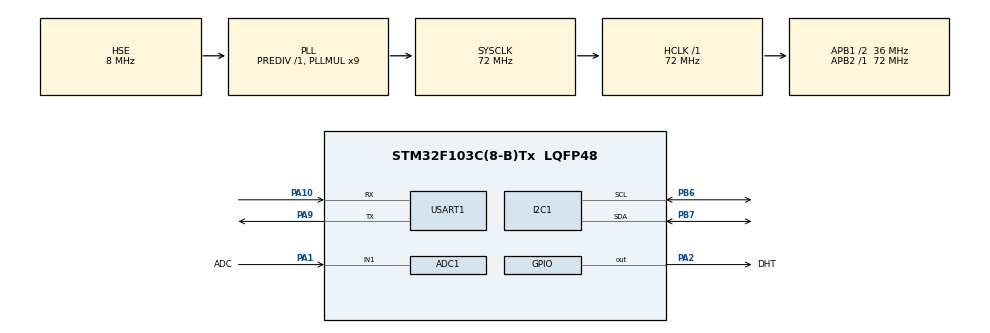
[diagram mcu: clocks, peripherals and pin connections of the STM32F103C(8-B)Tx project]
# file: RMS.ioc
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ADC1.Channel-0\#ChannelRegularConversion=ADC_CHANNEL_1
ADC1.NbrOfConversionFlag=1
ADC1.Rank-0\#ChannelRegularConversion=1
ADC1.SamplingTime-0\#ChannelRegularConversion=ADC_SAMPLETIME_1CYCLE_5
ADC1.master=1
FREERTOS.Tasks01=defaultTask,24,128,StartDefaultTask,Default,NULL,Dynamic,NULL,NULL
FREERTOS.configUSE_NEWLIB_REENTRANT=1
Mcu.Family=STM32F1
Mcu.Name=STM32F103C(8-B)Tx
Mcu.Package=LQFP48
NVIC.PriorityGroup=NVIC_PRIORITYGROUP_4
NVIC.TIM2_IRQn=true\:15\:0\:false\:false\:true\:false\:false\:true\:true
NVIC.TimeBase=TIM2_IRQn
NVIC.TimeBaseIP=TIM2
NVIC.USART1_IRQn=true\:5\:0\:false\:false\:true\:true\:true\:true\:true
PA1.GPIO_Label=ADC
PA1.Signal=ADCx_IN1
PA10.Mode=Asynchronous
PA10.Signal=USART1_RX
PA13.Mode=Serial_Wire
PA13.Signal=SYS_JTMS-SWDIO
PA14.Mode=Serial_Wire
PA14.Signal=SYS_JTCK-SWCLK
PA2.GPIO_Label=DHT
PA2.Signal=GPIO_Output
PA9.Mode=Asynchronous
PA9.Signal=USART1_TX
PB6.Mode=I2C
PB6.Signal=I2C1_SCL
PB7.Mode=I2C
PB7.Signal=I2C1_SDA
PD0-OSC_IN.Mode=HSE-External-Oscillator
PD0-OSC_IN.Signal=RCC_OSC_IN
PD1-OSC_OUT.Mode=HSE-External-Oscillator
PD1-OSC_OUT.Signal=RCC_OSC_OUT
ProjectManager.HeapSize=0x200
ProjectManager.StackSize=0x400
ProjectManager.TargetToolchain=STM32CubeIDE
RCC.ADCPresc=RCC_ADCPCLK2_DIV6
RCC.AHBFreq_Value=72000000
RCC.APB1CLKDivider=RCC_HCLK_DIV2
RCC.APB1Freq_Value=36000000
RCC.APB1TimFreq_Value=72000000
RCC.APB2Freq_Value=72000000
RCC.APB2TimFreq_Value=72000000
RCC.HCLKFreq_Value=72000000
RCC.PLLMUL=RCC_PLL_MUL9
RCC.PLLSourceVirtual=RCC_PLLSOURCE_HSE
RCC.SYSCLKFreq_VALUE=72000000
RCC.SYSCLKSource=RCC_SYSCLKSOURCE_PLLCLK
RCC.USBFreq_Value=72000000
SH.ADCx_IN1.0=ADC1_IN1,IN1
TIM1.Prescaler=71
USART1.VirtualMode=VM_ASYNC
VP_FREERTOS_VS_CMSIS_V2.Mode=CMSIS_V2
VP_SYS_VS_tim2.Mode=TIM2
VP_TIM1_VS_ClockSourceINT.Mode=Internal
board=custom

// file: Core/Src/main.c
/* USER CODE BEGIN Header */
/**
  ******************************************************************************
  * @file           : main.c
  * @brief          : Main program body
  ******************************************************************************
  * @attention
  *
  * Copyright (c) 2026 STMicroelectronics.
  * All rights reserved.
  *
  * This software is licensed under terms that can be found in the LICENSE file
  * in the root directory of this software component.
  * If no LICENSE file comes with this software, it is provided AS-IS.
  *
  ******************************************************************************
  */
/* USER CODE END Header */
#include "main.h"
#include "cmsis_os.h"
#include "adc.h"
#include "i2c.h"
#include "tim.h"
#include "usart.h"
#include "gpio.h"

/* USER CODE BEGIN Includes */
#include "DHT22.h"
#include "I2CLCD.h"
#include "SHT3X.h"
#include <string.h>
#include <stdio.h>
#include <stdbool.h>
#include "queue.h"
/* USER CODE END Includes */

/* USER CODE BEGIN PTD */
typedef enum {
    SOURCE_ADC,
    SOURCE_SHT_TEMP,
	SOURCE_DHT_TEMP,
} DataSource_t;
typedef struct {
    DataSource_t source;
    float value;
} Message_t;
DHT22_HandleTypeDef myDHT22={
		.GPIOx=GPIOA,
		.GPIO_Pin=GPIO_PIN_2,
		.htim=&htim1
};
typedef struct {
    const char *name;
    osThreadId_t handle;
    volatile uint32_t *period; // Trỏ tới biến period tương ứng
} RMS_Task_t;
/* USER CODE END PTD */

/* USER CODE BEGIN PD */
#define TASK_NUM 3
RMS_Task_t rmsTasks[TASK_NUM];
#define MIN_PERIOD_SENSOR  2000
#define MIN_PERIOD_ADC     100
#define MIN_PERIOD_LCD     500
/* USER CODE END PD */

/* USER CODE BEGIN PV */
osThreadId_t TaskSHTHandle;
osThreadId_t TaskLCDHandle;
osThreadId_t TaskUARTHandle;
osThreadId_t TaskADCHandle;
osThreadId_t TaskDHTHandle;
osThreadId_t TaskCommandHandle;
osMessageQueueId_t uartQueueHandle;
osMessageQueueId_t mailboxTempHandle;
osMessageQueueId_t mailboxADCHandle;
osMutexId_t I2CMutexHandle;
osMutexId_t UARTMutexHandle;
osEventFlagsId_t uartEventHandle;

volatile uint32_t period_SHT  = 3000;
volatile uint32_t period_DHT  = 3000;
volatile uint32_t period_ADC  = 1000;
volatile uint32_t period_LCD  = 4000;
uint32_t ADC_Val;
uint8_t rx_cmd_buf[32];
uint8_t rx_cmd_idx = 0;
uint8_t rx_byte;
uint8_t mode=0;
const osMessageQueueAttr_t mailbox_attributes = { .name = "Mailbox" };
/* USER CODE END PV */

void SystemClock_Config(void);
void MX_FREERTOS_Init(void);
/* USER CODE BEGIN PFP */
void StartTaskSHT(void *argument);
void StartTaskLCD(void *argument);
void StartTaskUART(void *argument);
void StartTaskADC(void *argument);
void StartTaskDHT(void *argument);
void StartTaskCommand(void *argument);
/* USER CODE END PFP */

/* USER CODE BEGIN 0 */
void RMS_UpdatePriority(void) {
    // 1. Sắp xếp danh sách Task theo chu kỳ (Bubble Sort)
    // Task có period nhỏ nhất sẽ đứng đầu mảng
    for (int i = 0; i < TASK_NUM - 1; i++) {
        for (int j = i + 1; j < TASK_NUM; j++) {
            if (*rmsTasks[j].period < *rmsTasks[i].period) {
                RMS_Task_t tmp = rmsTasks[i];
                rmsTasks[i] = rmsTasks[j];
                rmsTasks[j] = tmp;
            }
        }
    }

    // 2. Gán Priority mới dựa trên thứ tự đã sắp xếp
    osPriority_t basePri = osPriorityBelowNormal;
    for (int i = 0; i < TASK_NUM; i++) {
        // Task ở cuối mảng (period lớn nhất) nhận basePri
        // Task ở đầu mảng (period nhỏ nhất) nhận basePri + (TASK_NUM - 1)
        osPriority_t newPri = (osPriority_t)(basePri + (TASK_NUM - 1 - i));
        osThreadSetPriority(rmsTasks[i].handle, newPri);
    }
}

/* USER CODE END 0 */

int main(void)
{

  /* MCU Configuration--------------------------------------------------------*/

  /* Reset of all peripherals, Initializes the Flash interface and the Systick. */
  HAL_Init();

  /* Configure the system clock */
  SystemClock_Config();

  /* Initialize all configured peripherals */
  MX_GPIO_Init();
  MX_ADC1_Init();
  MX_I2C1_Init();
  MX_TIM1_Init();
  MX_USART1_UART_Init();
  /* USER CODE BEGIN 2 */
  SHT31_Init();
  lcd_init();
  HAL_TIM_Base_Start(myDHT22.htim);
  DHT22_Init(&myDHT22);
  I2CMutexHandle = osMutexNew(NULL);
  UARTMutexHandle= osMutexNew(NULL);
  uartEventHandle = osEventFlagsNew(NULL);
  uartQueueHandle = osMessageQueueNew(20, sizeof(Message_t), NULL);
  mailboxTempHandle = osMessageQueueNew(1, sizeof(float), &mailbox_attributes);
  mailboxADCHandle  = osMessageQueueNew(1, sizeof(uint32_t), &mailbox_attributes);
  const osThreadAttr_t adc_attributes = {
              .name = "TaskADC",
              .stack_size = 128 * 4,
              .priority = (osPriority_t) osPriorityAboveNormal,
            };
  const osThreadAttr_t temp_attributes = {
            .name = "TaskReadSensor",
            .stack_size = 128 * 4,
            .priority = (osPriority_t) osPriorityNormal,
          };
  const osThreadAttr_t uart_attributes = {
          .name = "TaskUART",
          .stack_size = 256 * 4,
          .priority = (osPriority_t) osPriorityLow,
        };
  const osThreadAttr_t lcd_attributes = {
        .name = "TaskLCD",
        .stack_size = 256 * 4,
        .priority = (osPriority_t) osPriorityBelowNormal,
      };
  const osThreadAttr_t command_attributes = {
      .name = "TaskCommand",
      .stack_size = 256 * 4,
      .priority = (osPriority_t) osPriorityHigh,
    };
  /* USER CODE END 2 */

  /* Init scheduler */
  osKernelInitialize();  /* Call init function for freertos objects (in cmsis_os2.c) */
  //MX_FREERTOS_Init();
  TaskADCHandle = osThreadNew(StartTaskADC, NULL, &adc_attributes);
  TaskDHTHandle = osThreadNew(StartTaskDHT, NULL, &temp_attributes);
  TaskSHTHandle = osThreadNew(StartTaskSHT, NULL, &temp_attributes);
  TaskUARTHandle = osThreadNew(StartTaskUART, NULL, &uart_attributes);
  TaskLCDHandle = osThreadNew(StartTaskLCD, NULL, &lcd_attributes);
  TaskCommandHandle = osThreadNew(StartTaskCommand, NULL, &command_attributes);
  osThreadSuspend(TaskDHTHandle);
  if (TaskCommandHandle == NULL) {
  // Nếu nhảy vào đây, chắc chắn là do hết Heap RAM
  HAL_UART_Transmit(&huart1, (uint8_t*)"ISR Task Creation Failed!\r\n", 27, 100);
  }
  rmsTasks[0] = (RMS_Task_t){"ADC", TaskADCHandle, &period_ADC};
  rmsTasks[1] = (RMS_Task_t){"SHT", TaskSHTHandle, &period_SHT};
  rmsTasks[2] = (RMS_Task_t){"LCD", TaskLCDHandle, &period_LCD};
  HAL_UART_Receive_IT(&huart1, &rx_byte, 1);
  /* Start scheduler */
  osKernelStart();

  /* We should never get here as control is now taken by the scheduler */

  /* Infinite loop */
  while (1)
  {

  }
}

void SystemClock_Config(void)
{
  RCC_OscInitTypeDef RCC_OscInitStruct = {0};
  RCC_ClkInitTypeDef RCC_ClkInitStruct = {0};
  RCC_PeriphCLKInitTypeDef PeriphClkInit = {0};

  /** Initializes the RCC Oscillators according to the specified parameters
  * in the RCC_OscInitTypeDef structure.
  */
  RCC_OscInitStruct.OscillatorType = RCC_OSCILLATORTYPE_HSE;
  RCC_OscInitStruct.HSEState = RCC_HSE_ON;
  RCC_OscInitStruct.HSEPredivValue = RCC_HSE_PREDIV_DIV1;
  RCC_OscInitStruct.HSIState = RCC_HSI_ON;
  RCC_OscInitStruct.PLL.PLLState = RCC_PLL_ON;
  RCC_OscInitStruct.PLL.PLLSource = RCC_PLLSOURCE_HSE;
  RCC_OscInitStruct.PLL.PLLMUL = RCC_PLL_MUL9;
  if (HAL_RCC_OscConfig(&RCC_OscInitStruct) != HAL_OK)
  {
    Error_Handler();
  }

  /** Initializes the CPU, AHB and APB buses clocks
  */
  RCC_ClkInitStruct.ClockType = RCC_CLOCKTYPE_HCLK|RCC_CLOCKTYPE_SYSCLK
                              |RCC_CLOCKTYPE_PCLK1|RCC_CLOCKTYPE_PCLK2;
  RCC_ClkInitStruct.SYSCLKSource = RCC_SYSCLKSOURCE_PLLCLK;
  RCC_ClkInitStruct.AHBCLKDivider = RCC_SYSCLK_DIV1;
  RCC_ClkInitStruct.APB1CLKDivider = RCC_HCLK_DIV2;
  RCC_ClkInitStruct.APB2CLKDivider = RCC_HCLK_DIV1;

  if (HAL_RCC_ClockConfig(&RCC_ClkInitStruct, FLASH_LATENCY_2) != HAL_OK)
  {
    Error_Handler();
  }
  PeriphClkInit.PeriphClockSelection = RCC_PERIPHCLK_ADC;
  PeriphClkInit.AdcClockSelection = RCC_ADCPCLK2_DIV6;
  if (HAL_RCCEx_PeriphCLKConfig(&PeriphClkInit) != HAL_OK)
  {
    Error_Handler();
  }
}

/* USER CODE BEGIN 4 */
// --- TASK : SHT ---
void StartTaskSHT(void *argument) {
    float t, h;
    Message_t msg;
    uint32_t tick;
    for(;;) {
    	if(mode==1){
    		osThreadResume(TaskDHTHandle);
    		osThreadSuspend(TaskSHTHandle);
    	}
    	tick = osKernelGetTickCount();
    	if (osMutexAcquire(I2CMutexHandle, 10) == osOK) {
    	            SHT31_StartMeasure();
    	            osMutexRelease(I2CMutexHandle);
    	        }
    	osDelay(20);
    	if (osMutexAcquire(I2CMutexHandle, 10) == osOK){
    		if(SHT31_GetResult(&t, &h)==1){
    			xQueueOverwrite((QueueHandle_t)mailboxTempHandle, &t);
    			msg.source = SOURCE_SHT_TEMP;
    			msg.value = t;
    			osMessageQueuePut(uartQueueHandle, &msg, 0, 10);
    		}
    		osMutexRelease(I2CMutexHandle);
    	}
        osDelayUntil(tick+period_SHT);
    }
}

// --- TASK : LCD ---
void StartTaskLCD(void *argument) {
    char str_buf[16];
    float current_t = 0;
    uint32_t current_adc = 0;
    uint32_t tick = osKernelGetTickCount();
    osDelay(100);
    for(;;) {
    	tick+=period_LCD;
        // 1. Lấy dữ liệu mới nhất từ kho lưu trữ
        xQueuePeek((QueueHandle_t)mailboxTempHandle, &current_t, 0);
        xQueuePeek((QueueHandle_t)mailboxADCHandle, &current_adc, 0);

        // 2. Hiển thị lên LCD
        if (osMutexAcquire(I2CMutexHandle, osWaitForever) == osOK) {
            lcd_clear();

            // Dòng 1: Nhiệt độ
            lcd_put_cur(0, 0);
            sprintf(str_buf, "Temp: %.1f C", current_t);
            lcd_send_string(str_buf);

            // Dòng 2: ADC
            lcd_put_cur(1, 0);
            sprintf(str_buf, "Gas: %lu", current_adc);
            lcd_send_string(str_buf);

            osMutexRelease(I2CMutexHandle);
        }
        osDelayUntil(tick);
    }
}

// --- TASK : UART ---
void StartTaskUART(void *argument) {
    Message_t received_msg;
    char str[64];
    for(;;) {
        if (osMessageQueueGet(uartQueueHandle, &received_msg, NULL, osWaitForever) == osOK) {

            int len = 0;
            if (received_msg.source == SOURCE_ADC) {
                len = sprintf(str, "[ADC] Gas: %d\r\n", (int)received_msg.value);
            } else if (received_msg.source == SOURCE_SHT_TEMP) {
                len = sprintf(str, "[SHT] Temp: %.2f C\r\n", received_msg.value);
            } else if (received_msg.source == SOURCE_DHT_TEMP) {
                len = sprintf(str, "[DHT] Temp: %.2f C\r\n", received_msg.value);
            }

            // Bảo vệ Mutex UART khi in
            if (osMutexAcquire(UARTMutexHandle, osWaitForever) == osOK) {
                HAL_UART_Transmit(&huart1, (uint8_t*)str, len, 100);
                osMutexRelease(UARTMutexHandle);
            }
        }
    }
}
// --- TASK : ADC ---
void StartTaskADC(void *argument) {
    Message_t msg_adc;
    uint32_t local_adc_val;
    HAL_ADCEx_Calibration_Start(&hadc1);
    uint32_t tick = osKernelGetTickCount();
    for(;;) {
        tick += period_ADC;

        if (HAL_ADC_Start(&hadc1) == HAL_OK) {
            if(HAL_ADC_PollForConversion(&hadc1, 10) == HAL_OK) {
                local_adc_val = HAL_ADC_GetValue(&hadc1);
                xQueueOverwrite((QueueHandle_t)mailboxADCHandle, &local_adc_val);
                msg_adc.source = SOURCE_ADC;
                msg_adc.value = (float)local_adc_val;
                osMessageQueuePut(uartQueueHandle, &msg_adc, 0, 10);
            }
            else{
            	msg_adc.source = SOURCE_ADC;
            	msg_adc.value = -999.0; // Dùng một giá trị đặc biệt để báo lỗi
            	osMessageQueuePut(uartQueueHandle, &msg_adc, 0, 10);
            }
        }
        HAL_ADC_Stop(&hadc1);
        osDelayUntil(tick);
    }
}
// --- Task DHT ---
void StartTaskDHT(void *argument) {
    DHT22_Data_t dht_data;
    Message_t msg;
    uint32_t tick ;
    int status;
    for(;;) {
    	if(mode==0){
    		osThreadResume(TaskSHTHandle);
    		osThreadSuspend(TaskDHTHandle);
    	}
        tick = osKernelGetTickCount();
        status = DHT22_Read(&myDHT22, &dht_data);
        if (status== 0) {
            xQueueOverwrite((QueueHandle_t)mailboxTempHandle, &dht_data.Temperature);
            msg.source = SOURCE_DHT_TEMP;
            msg.value = dht_data.Temperature;
            osMessageQueuePut(uartQueueHandle, &msg, 0, 10);
        }
        else{
        	char str[64];
        	int len = 0;
        	len = sprintf(str, "%d\r\n", (int)status);
        	if (osMutexAcquire(UARTMutexHandle, osWaitForever) == osOK) {
        	                HAL_UART_Transmit(&huart1, (uint8_t*)str, len, 100);
        	                osMutexRelease(UARTMutexHandle);
        }
        }
        osDelayUntil(tick+period_DHT);
    }
}
// --- Task Command xử lý lệnh từ UART ---
void StartTaskCommand(void *argument) {
    int val;
    char target_name[20];
    for(;;) {
        ulTaskNotifyTake(pdTRUE, portMAX_DELAY);
        bool updated = false;
        bool invalid = false; // Biến báo lỗi nếu nhập số quá nhỏ
        strcpy(target_name, "UNKNOWN");

        if (strcmp((char*)rx_cmd_buf, "MODE:SHT") == 0) {
            mode = 0;
            rmsTasks[1].handle = TaskSHTHandle;
            rmsTasks[1].period = &period_SHT;
            rmsTasks[1].name = "SHT";
            strcpy(target_name, "MODE SHT");
            updated = true;
        }
        else if (strcmp((char*)rx_cmd_buf, "MODE:DHT") == 0) {
            mode = 1;
            rmsTasks[1].handle = TaskDHTHandle;
            rmsTasks[1].period = &period_DHT;
            rmsTasks[1].name = "DHT";
            strcpy(target_name, "MODE DHT");
            updated = true;
        }
        else if (sscanf((char*)rx_cmd_buf, "ADC:%d", &val) == 1) {
            if (val >= MIN_PERIOD_ADC) {
                period_ADC = (uint32_t)val;
                strcpy(target_name, "ADC");
                updated = true;
            } else { invalid = true; }
        }
        else if (sscanf((char*)rx_cmd_buf, "SHT:%d", &val) == 1) {
            if (val >= MIN_PERIOD_SENSOR) {
                period_SHT = (uint32_t)val;
                strcpy(target_name, "SHT");
                updated = true;
            } else { invalid = true; }
        }
        else if (sscanf((char*)rx_cmd_buf, "DHT:%d", &val) == 1) {
            if (val >= MIN_PERIOD_SENSOR) {
                period_DHT = (uint32_t)val;
                strcpy(target_name, "DHT");
                updated = true;
            } else { invalid = true; }
        }
        else if (sscanf((char*)rx_cmd_buf, "LCD:%d", &val) == 1) {
            if (val >= MIN_PERIOD_LCD) {
                period_LCD = (uint32_t)val;
                strcpy(target_name, "LCD");
                updated = true;
            } else { invalid = true; }
        }

        // 3. Phản hồi UART
        if (osMutexAcquire(UARTMutexHandle, 100) == osOK) {
            char msg[64];
            if (invalid) {
                sprintf(msg, ">> ERROR: Period too small!\r\n");
            } else if (updated) {
                RMS_UpdatePriority();
                sprintf(msg, ">> %s Updated, RMS OK\r\n", target_name);
            } else {
                sprintf(msg, ">> %s OK\r\n", target_name);
            }
            HAL_UART_Transmit(&huart1, (uint8_t*)msg, strlen(msg), 100);
            osMutexRelease(UARTMutexHandle);
        }
        taskENTER_CRITICAL();
        memset(rx_cmd_buf, 0, sizeof(rx_cmd_buf));
        rx_cmd_idx = 0;
        taskEXIT_CRITICAL();
    }
}
// --- CALLBACK NGẮT UART ---
void HAL_UART_RxCpltCallback(UART_HandleTypeDef *huart) {
    if (huart->Instance == USART1) {
        // Nếu nhận ký tự kết thúc
        if (rx_byte == '\n' || rx_byte == '\r') {
            if (rx_cmd_idx > 0) {
                rx_cmd_buf[rx_cmd_idx] = '\0'; // Kết thúc chuỗi
                vTaskNotifyGiveFromISR((TaskHandle_t)TaskCommandHandle, NULL);
            }
            rx_cmd_idx = 0;
        } else {
            if (rx_cmd_idx < sizeof(rx_cmd_buf) - 1) {
                rx_cmd_buf[rx_cmd_idx++] = rx_byte;
            }
        }
        HAL_UART_Receive_IT(&huart1, &rx_byte, 1);
    }
}
/* USER CODE END 4 */

void HAL_TIM_PeriodElapsedCallback(TIM_HandleTypeDef *htim)
{
  if (htim->Instance == TIM2)
  {
    HAL_IncTick();
  }
}

void Error_Handler(void)
{
  __disable_irq();
  while (1)
  {
  }
}
